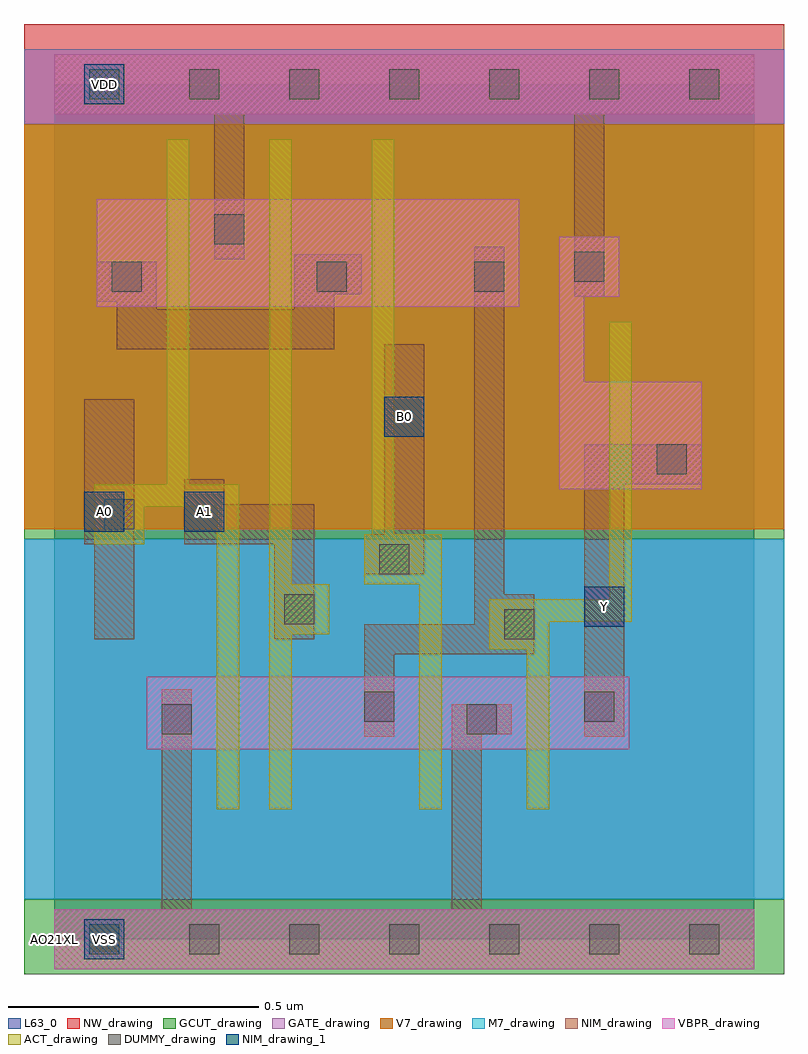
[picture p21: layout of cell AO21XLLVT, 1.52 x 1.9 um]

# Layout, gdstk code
import gdstk
lib = gdstk.Library(unit=1e-6, precision=5e-10)
def R(c, l, rs):  # rectangles x0, y0, x1, y1
    for r in rs: c.add(gdstk.rectangle(r[:2], r[2:], *l))
def A(c, l, x, y, w, h, nx, ny, dx, dy):  # array of equal rectangles
    R(c, l, [(x+i*dx, y+j*dy, x+i*dx+w, y+j*dy+h) for i in range(nx) for j in range(ny)])
def P(c, l, *ps):  # polygons
    for p in ps: c.add(gdstk.Polygon(p, *l))
VBPR_drawing = (1, 0)
NW_drawing = (2, 0)
ACT_drawing = (3, 0)
GATE_drawing = (4, 0)
GCUT_drawing = (5, 0)
DUMMY_drawing = (6, 0)
NIM_drawing = (7, 0)
NIM_drawing_1 = (7, 1)
M7_drawing = (26, 0)
V7_drawing = (27, 0)
L63_0 = (63, 0)

ao21xllvt = lib.new_cell('AO21XLLVT')
R(ao21xllvt, VBPR_drawing, [(0,-0.06,1.4,0.06), (0.185,0.38,1.15,0.525), (0.085,1.265,0.93,1.48), (0,1.65,1.4,1.77)])
P(ao21xllvt, VBPR_drawing, [(1.01,1.405),(1.13,1.405),(1.13,1.285),(1.06,1.285),(1.06,1.115),(1.295,1.115),(1.295,0.9),(1.01,0.9)])
R(ao21xllvt, NW_drawing, [(-0.06,0.82,1.46,1.83)])
P(ao21xllvt, ACT_drawing, [(0.225,1.6),(0.27,1.6),(0.27,0.91),(0.37,0.91),(0.37,0.26),(0.325,0.26),(0.325,0.865),(0.18,0.865),(0.18,0.79),(0.08,0.79),(0.08,0.91),(0.225,0.91)],
  [(0.43,1.6),(0.475,1.6),(0.475,0.71),(0.55,0.71),(0.55,0.61),(0.475,0.61),(0.475,0.26),(0.43,0.26)],
  [(0.635,1.6),(0.68,1.6),(0.68,0.81),(0.775,0.81),(0.775,0.26),(0.73,0.26),(0.73,0.71),(0.62,0.71),(0.62,0.81),(0.635,0.81)],
  [(1.11,1.235),(1.155,1.235),(1.155,0.635),(0.99,0.635),(0.99,0.26),(0.945,0.26),(0.945,0.58),(0.87,0.58),(0.87,0.68),(1.11,0.68)])
R(ao21xllvt, GATE_drawing, [(-0.06,0.08,1.46,0.8), (-0.06,1.63,1.46,1.78)])
R(ao21xllvt, GCUT_drawing, [(-0.06,-0.07,1.46,0.08), (-0.06,0.8,1.46,1.63)])
A(ao21xllvt, DUMMY_drawing, 0.07, -0.03, 0.06, 0.06, 7, 2, 0.2, 1.71)
R(ao21xllvt, DUMMY_drawing, [(0.215,0.41,0.275,0.47), (0.825,0.41,0.885,0.47), (0.62,0.435,0.68,0.495), (1.06,0.435,1.12,0.495), (0.9,0.6,0.96,0.66), (0.46,0.63,0.52,0.69), (0.65,0.73,0.71,0.79), (0.1,0.82,0.16,0.88), (1.205,0.93,1.265,0.99), (0.115,1.295,0.175,1.355), (0.525,1.295,0.585,1.355), (0.84,1.295,0.9,1.355), (1.04,1.315,1.1,1.375), (0.32,1.39,0.38,1.45)])
R(ao21xllvt, NIM_drawing, [(0.215,0.06,0.275,0.5), (1.04,1.285,1.1,1.65), (0.32,1.36,0.38,1.65)])
P(ao21xllvt, NIM_drawing, [(0.84,1.385),(0.9,1.385),(0.9,0.69),(0.96,0.69),(0.96,0.57),(0.68,0.57),(0.68,0.405),(0.62,0.405),(0.62,0.63),(0.84,0.63)],
  [(0.085,1.355),(0.205,1.355),(0.205,1.26),(0.48,1.26),(0.48,1.37),(0.615,1.37),(0.615,1.29),(0.56,1.29),(0.56,1.18),(0.125,1.18),(0.125,1.275),(0.085,1.275)],
  [(0.66,1.19),(0.74,1.19),(0.74,0.73),(0.62,0.73),(0.62,0.81),(0.66,0.81)],
  [(0.06,1.08),(0.16,1.08),(0.16,0.6),(0.08,0.6),(0.08,0.79),(0.06,0.79)],
  [(0.26,0.92),(0.34,0.92),(0.34,0.87),(0.52,0.87),(0.52,0.6),(0.44,0.6),(0.44,0.79),(0.26,0.79)],
  [(1.06,0.99),(1.295,0.99),(1.295,0.91),(1.14,0.91),(1.14,0.405),(1.06,0.405)],
  [(0.915,0.47),(0.795,0.47),(0.795,0.06),(0.855,0.06),(0.855,0.41),(0.915,0.41)])
A(ao21xllvt, NIM_drawing_1, 0.06, -0.04, 0.08, 0.08, 1, 3, 0, 0.855)
R(ao21xllvt, NIM_drawing_1, [(1.06,0.625,1.14,0.705), (0.26,0.815,0.34,0.895), (0.66,1.005,0.74,1.085)])
R(ao21xllvt, M7_drawing, [(-0.06,0.08,1.46,0.8)])
R(ao21xllvt, V7_drawing, [(-0.06,0.82,1.46,1.63)])
R(ao21xllvt, L63_0, [(0,0,1.4,1.71)])
ao21xllvt.add(gdstk.FlexPath([(0,0),(1.4,0)], 0.12, ends="flush", simple_path=True, layer=7, datatype=0))  # NIM_drawing
ao21xllvt.add(gdstk.FlexPath([(0,1.71),(1.4,1.71)], 0.12, ends="flush", simple_path=True, layer=7, datatype=0))  # NIM_drawing
ao21xllvt.add(gdstk.Label('Y', (1.1,0.665), layer=7, texttype=1))
ao21xllvt.add(gdstk.Label('A0', (0.1,0.855), layer=7, texttype=1))
ao21xllvt.add(gdstk.Label('A1', (0.3,0.855), layer=7, texttype=1))
ao21xllvt.add(gdstk.Label('B0', (0.7,1.045), layer=7, texttype=1))
ao21xllvt.add(gdstk.Label('VDD', (0.1,1.71), layer=7, texttype=1))
ao21xllvt.add(gdstk.Label('VSS', (0.1,0), layer=7, texttype=1))
ao21xllvt.add(gdstk.Label('VSS', (0.1,0), layer=7, texttype=1))
ao21xllvt.add(gdstk.Label('VDD', (0.1,1.71), layer=7, texttype=1))
ao21xllvt.add(gdstk.Label('B0', (0.7,1.045), layer=7, texttype=1))
ao21xllvt.add(gdstk.Label('A1', (0.3,0.855), layer=7, texttype=1))
ao21xllvt.add(gdstk.Label('A0', (0.1,0.855), layer=7, texttype=1))
ao21xllvt.add(gdstk.Label('Y', (1.1,0.665), layer=7, texttype=1))
ao21xllvt.add(gdstk.Label('AO21XL', (0,0), layer=63, texttype=0))

lib.write_gds('AO21XLLVT.gds')
